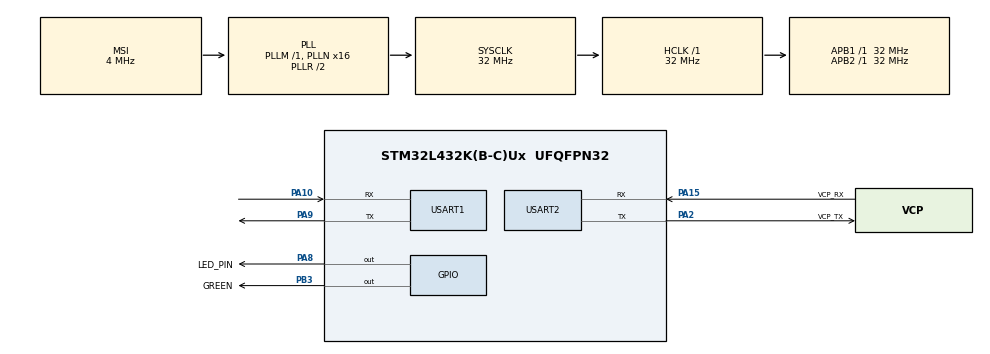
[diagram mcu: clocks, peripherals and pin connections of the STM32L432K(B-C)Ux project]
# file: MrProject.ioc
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Mcu.Family=STM32L4
Mcu.Name=STM32L432K(B-C)Ux
Mcu.Package=UFQFPN32
NVIC.PriorityGroup=NVIC_PRIORITYGROUP_4
PA0.GPIO_Label=MCO [High speed clock in]
PA0.Mode=HSE-External-Clock-Source-for-LittleOrca
PA0.Signal=RCC_CK_IN
PA10.Mode=Asynchronous
PA10.Signal=USART1_RX
PA13\ (JTMS-SWDIO).GPIO_Label=SWDIO
PA13\ (JTMS-SWDIO).Mode=Serial_Wire
PA13\ (JTMS-SWDIO).Signal=SYS_JTMS-SWDIO
PA14\ (JTCK-SWCLK).GPIO_Label=SWCLK
PA14\ (JTCK-SWCLK).Mode=Serial_Wire
PA14\ (JTCK-SWCLK).Signal=SYS_JTCK-SWCLK
PA15\ (JTDI).GPIO_Label=VCP_RX
PA15\ (JTDI).Mode=Asynchronous
PA15\ (JTDI).Signal=USART2_RX
PA2.GPIO_Label=VCP_TX
PA2.Mode=Asynchronous
PA2.Signal=USART2_TX
PA8.GPIO_Label=LED_PIN
PA8.Signal=GPIO_Output
PA9.Mode=Asynchronous
PA9.Signal=USART1_TX
PB3\ (JTDO-TRACESWO).GPIO_Label=GREEN
PB3\ (JTDO-TRACESWO).Signal=GPIO_Output
PC14-OSC32_IN\ (PC14).Mode=LSE-External-Oscillator
PC14-OSC32_IN\ (PC14).Signal=RCC_OSC32_IN
PC15-OSC32_OUT\ (PC15).Mode=LSE-External-Oscillator
PC15-OSC32_OUT\ (PC15).Signal=RCC_OSC32_OUT
ProjectManager.HeapSize=0x200
ProjectManager.StackSize=0x400
ProjectManager.TargetToolchain=STM32CubeIDE
RCC.AHBFreq_Value=32000000
RCC.APB1Freq_Value=32000000
RCC.APB1TimFreq_Value=32000000
RCC.APB2Freq_Value=32000000
RCC.APB2TimFreq_Value=32000000
RCC.CortexFreq_Value=32000000
RCC.HCLKFreq_Value=32000000
RCC.HSE_VALUE=8000000
RCC.HSI16_VALUE=16000000
RCC.HSI48_VALUE=48000000
RCC.HSI_VALUE=16000000
RCC.MSI_VALUE=4000000
RCC.PLLMUL=RCC_PLLMUL_4
RCC.PLLN=16
RCC.SYSCLKFreq_VALUE=32000000
RCC.SYSCLKSource=RCC_SYSCLKSOURCE_PLLCLK
RCC.VCOOutputFreq_Value=64000000
TIM16.Prescaler=31
USART1.VirtualMode-Asynchronous=VM_ASYNC
USART2.VirtualMode-Asynchronous=VM_ASYNC
VP_TIM16_VS_ClockSourceINT.Mode=Enable_Timer
board=NUCLEO-L432KC

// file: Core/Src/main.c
/* USER CODE BEGIN Header */
/**
  ******************************************************************************
  * @file           : main.c
  * @brief          : Main program body
  ******************************************************************************
  * @attention
  *
  * Copyright (c) 2025 STMicroelectronics.
  * All rights reserved.
  *
  * This software is licensed under terms that can be found in the LICENSE file
  * in the root directory of this software component.
  * If no LICENSE file comes with this software, it is provided AS-IS.
  *
  ******************************************************************************
  */
/* USER CODE END Header */
#include "main.h"

/* USER CODE BEGIN Includes */
# include <stdlib.h>
/* USER CODE END Includes */

TIM_HandleTypeDef htim16;

UART_HandleTypeDef huart1;
UART_HandleTypeDef huart2;

void SystemClock_Config(void);
static void MX_GPIO_Init(void);
static void MX_USART2_UART_Init(void);
static void MX_USART1_UART_Init(void);
static void MX_TIM16_Init(void);

int main(void)
{

  /* MCU Configuration--------------------------------------------------------*/

  /* Reset of all peripherals, Initializes the Flash interface and the Systick. */
  HAL_Init();

  /* Configure the system clock */
  SystemClock_Config();

  /* Initialize all configured peripherals */
  MX_GPIO_Init();
  MX_USART2_UART_Init();
  MX_USART1_UART_Init();
  MX_TIM16_Init();

  /* Infinite loop */
  /* USER CODE BEGIN WHILE */
  while (1)
  {
	  	  HAL_TIM_Base_Start(&htim16);
	  	  uint8_t transmit_number = 100;
	  	  uint8_t false = 50;
	  	  uint8_t number ;
	      uint8_t specialNumber = 83;

	      while(1){
			  HAL_UART_Receive(&huart1, &number, sizeof(uint8_t), 100);
//			  HAL_UART_Transmit(&huart2, &number, sizeof(uint8_t), 100);
//		      HAL_Delay(10);

			  if (number == specialNumber){

				  HAL_GPIO_WritePin(GREEN_GPIO_Port, GREEN_Pin, 1);
//				  __HAL_TIM_SET_COUNTER(&htim16,0);
//				  while(__HAL_TIM_GET_COUNTER(&htim16)<250000){
//
//
//					  HAL_UART_Transmit(&huart2, &transmit_number, sizeof(number), 100);
//
//
//				  }

				  HAL_Delay(250);
				  HAL_UART_Transmit(&huart1, &number, sizeof(uint8_t), 100);
				  HAL_GPIO_WritePin(GREEN_GPIO_Port, GREEN_Pin, 0);
				  number = 0;
			  }
			  else{
			  HAL_GPIO_WritePin(GREEN_GPIO_Port, GREEN_Pin, 0);
			  // Print 2
//			  HAL_UART_Transmit(&huart2, &false, sizeof(number), 100);

			  }

	      }

    /* USER CODE END WHILE */

  }
}

void SystemClock_Config(void)
{
  RCC_OscInitTypeDef RCC_OscInitStruct = {0};
  RCC_ClkInitTypeDef RCC_ClkInitStruct = {0};

  /** Configure the main internal regulator output voltage
  */
  if (HAL_PWREx_ControlVoltageScaling(PWR_REGULATOR_VOLTAGE_SCALE1) != HAL_OK)
  {
    Error_Handler();
  }

  /** Configure LSE Drive Capability
  */
  HAL_PWR_EnableBkUpAccess();
  __HAL_RCC_LSEDRIVE_CONFIG(RCC_LSEDRIVE_LOW);

  /** Initializes the RCC Oscillators according to the specified parameters
  * in the RCC_OscInitTypeDef structure.
  */
  RCC_OscInitStruct.OscillatorType = RCC_OSCILLATORTYPE_LSE|RCC_OSCILLATORTYPE_MSI;
  RCC_OscInitStruct.LSEState = RCC_LSE_ON;
  RCC_OscInitStruct.MSIState = RCC_MSI_ON;
  RCC_OscInitStruct.MSICalibrationValue = 0;
  RCC_OscInitStruct.MSIClockRange = RCC_MSIRANGE_6;
  RCC_OscInitStruct.PLL.PLLState = RCC_PLL_ON;
  RCC_OscInitStruct.PLL.PLLSource = RCC_PLLSOURCE_MSI;
  RCC_OscInitStruct.PLL.PLLM = 1;
  RCC_OscInitStruct.PLL.PLLN = 16;
  RCC_OscInitStruct.PLL.PLLP = RCC_PLLP_DIV7;
  RCC_OscInitStruct.PLL.PLLQ = RCC_PLLQ_DIV2;
  RCC_OscInitStruct.PLL.PLLR = RCC_PLLR_DIV2;
  if (HAL_RCC_OscConfig(&RCC_OscInitStruct) != HAL_OK)
  {
    Error_Handler();
  }

  /** Initializes the CPU, AHB and APB buses clocks
  */
  RCC_ClkInitStruct.ClockType = RCC_CLOCKTYPE_HCLK|RCC_CLOCKTYPE_SYSCLK
                              |RCC_CLOCKTYPE_PCLK1|RCC_CLOCKTYPE_PCLK2;
  RCC_ClkInitStruct.SYSCLKSource = RCC_SYSCLKSOURCE_PLLCLK;
  RCC_ClkInitStruct.AHBCLKDivider = RCC_SYSCLK_DIV1;
  RCC_ClkInitStruct.APB1CLKDivider = RCC_HCLK_DIV1;
  RCC_ClkInitStruct.APB2CLKDivider = RCC_HCLK_DIV1;

  if (HAL_RCC_ClockConfig(&RCC_ClkInitStruct, FLASH_LATENCY_1) != HAL_OK)
  {
    Error_Handler();
  }

  /** Enable MSI Auto calibration
  */
  HAL_RCCEx_EnableMSIPLLMode();
}

static void MX_TIM16_Init(void)
{

  htim16.Instance = TIM16;
  htim16.Init.Prescaler = 31;
  htim16.Init.CounterMode = TIM_COUNTERMODE_UP;
  htim16.Init.Period = 65535;
  htim16.Init.ClockDivision = TIM_CLOCKDIVISION_DIV1;
  htim16.Init.RepetitionCounter = 0;
  htim16.Init.AutoReloadPreload = TIM_AUTORELOAD_PRELOAD_DISABLE;
  if (HAL_TIM_Base_Init(&htim16) != HAL_OK)
  {
    Error_Handler();
  }

}

static void MX_USART1_UART_Init(void)
{

  huart1.Instance = USART1;
  huart1.Init.BaudRate = 115200;
  huart1.Init.WordLength = UART_WORDLENGTH_8B;
  huart1.Init.StopBits = UART_STOPBITS_1;
  huart1.Init.Parity = UART_PARITY_NONE;
  huart1.Init.Mode = UART_MODE_TX_RX;
  huart1.Init.HwFlowCtl = UART_HWCONTROL_NONE;
  huart1.Init.OverSampling = UART_OVERSAMPLING_16;
  huart1.Init.OneBitSampling = UART_ONE_BIT_SAMPLE_DISABLE;
  huart1.AdvancedInit.AdvFeatureInit = UART_ADVFEATURE_NO_INIT;
  if (HAL_UART_Init(&huart1) != HAL_OK)
  {
    Error_Handler();
  }

}

static void MX_USART2_UART_Init(void)
{

  huart2.Instance = USART2;
  huart2.Init.BaudRate = 115200;
  huart2.Init.WordLength = UART_WORDLENGTH_8B;
  huart2.Init.StopBits = UART_STOPBITS_1;
  huart2.Init.Parity = UART_PARITY_NONE;
  huart2.Init.Mode = UART_MODE_TX_RX;
  huart2.Init.HwFlowCtl = UART_HWCONTROL_NONE;
  huart2.Init.OverSampling = UART_OVERSAMPLING_16;
  huart2.Init.OneBitSampling = UART_ONE_BIT_SAMPLE_DISABLE;
  huart2.AdvancedInit.AdvFeatureInit = UART_ADVFEATURE_NO_INIT;
  if (HAL_UART_Init(&huart2) != HAL_OK)
  {
    Error_Handler();
  }

}

static void MX_GPIO_Init(void)
{
  GPIO_InitTypeDef GPIO_InitStruct = {0};

  /* GPIO Ports Clock Enable */
  __HAL_RCC_GPIOC_CLK_ENABLE();
  __HAL_RCC_GPIOA_CLK_ENABLE();
  __HAL_RCC_GPIOB_CLK_ENABLE();

  /*Configure GPIO pin Output Level */
  HAL_GPIO_WritePin(LED_PIN_GPIO_Port, LED_PIN_Pin, GPIO_PIN_RESET);

  /*Configure GPIO pin Output Level */
  HAL_GPIO_WritePin(GREEN_GPIO_Port, GREEN_Pin, GPIO_PIN_RESET);

  /*Configure GPIO pin : LED_PIN_Pin */
  GPIO_InitStruct.Pin = LED_PIN_Pin;
  GPIO_InitStruct.Mode = GPIO_MODE_OUTPUT_PP;
  GPIO_InitStruct.Pull = GPIO_NOPULL;
  GPIO_InitStruct.Speed = GPIO_SPEED_FREQ_LOW;
  HAL_GPIO_Init(LED_PIN_GPIO_Port, &GPIO_InitStruct);

  /*Configure GPIO pin : GREEN_Pin */
  GPIO_InitStruct.Pin = GREEN_Pin;
  GPIO_InitStruct.Mode = GPIO_MODE_OUTPUT_PP;
  GPIO_InitStruct.Pull = GPIO_NOPULL;
  GPIO_InitStruct.Speed = GPIO_SPEED_FREQ_LOW;
  HAL_GPIO_Init(GREEN_GPIO_Port, &GPIO_InitStruct);

}

void Error_Handler(void)
{
  __disable_irq();
  while (1)
  {
  }
}
